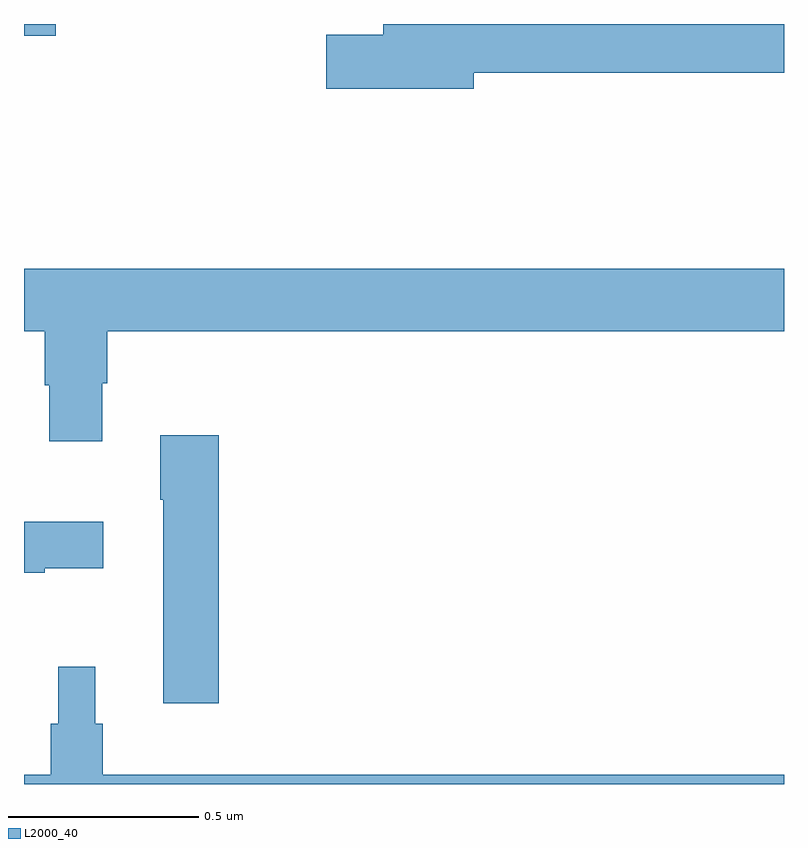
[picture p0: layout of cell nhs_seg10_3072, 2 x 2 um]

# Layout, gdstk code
import gdstk
lib = gdstk.Library(unit=1e-6, precision=1e-09)
def R(c, l, rs):  # rectangles x0, y0, x1, y1
    for r in rs: c.add(gdstk.rectangle(r[:2], r[2:], *l))
def P(c, l, *ps):  # polygons
    for p in ps: c.add(gdstk.Polygon(p, *l))
L2000_40 = (2000, 40)

nhs_seg10_3072 = lib.new_cell('nhs_seg10_3072')
R(nhs_seg10_3072, L2000_40, [(149,1258.469,149.083,1258.5)])
P(nhs_seg10_3072, L2000_40, [(150.184,1258.372),(151,1258.372),(151,1258.5),(149.945,1258.5),(149.945,1258.472),(149.796,1258.472),(149.796,1258.33),(150.184,1258.33)],
  [(149.206,1257.555),(149.219,1257.555),(149.219,1257.692),(151,1257.692),(151,1257.856),(149,1257.856),(149,1257.692),(149.054,1257.692),(149.054,1257.55),(149.066,1257.55),(149.066,1257.402),(149.206,1257.402)],
  [(149.513,1257.418),(149.359,1257.418),(149.359,1257.248),(149.366,1257.248),(149.366,1256.712),(149.513,1256.712)],
  [(149.055,1257.068),(149.209,1257.068),(149.209,1257.19),(149,1257.19),(149,1257.056),(149.055,1257.056)],
  [(151,1256.524),(149.207,1256.524),(149.207,1256.658),(149.188,1256.658),(149.188,1256.809),(149.09,1256.809),(149.09,1256.658),(149.071,1256.658),(149.071,1256.524),(149,1256.524),(149,1256.5),(151,1256.5)])

lib.write_gds('nhs_seg10_3072.gds')
